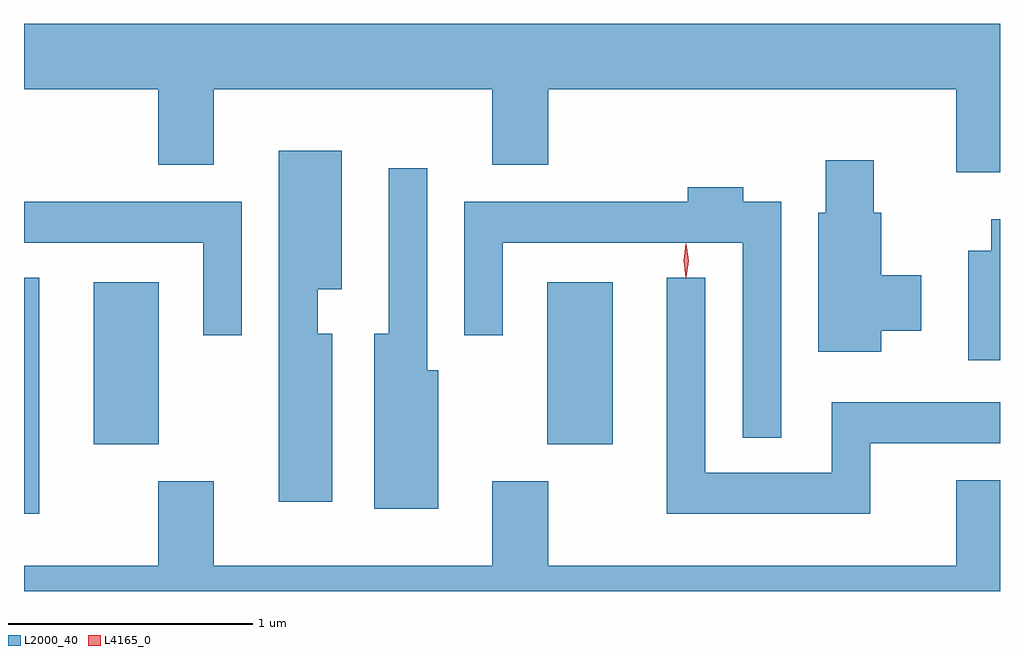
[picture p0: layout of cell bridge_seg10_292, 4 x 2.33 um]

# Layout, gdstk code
import gdstk
lib = gdstk.Library(unit=1e-6, precision=1e-09)
def R(c, l, rs):  # rectangles x0, y0, x1, y1
    for r in rs: c.add(gdstk.rectangle(r[:2], r[2:], *l))
def P(c, l, *ps):  # polygons
    for p in ps: c.add(gdstk.Polygon(p, *l))
L2000_40 = (2000, 40)
L4165_0 = (4165, 0)

bridge_seg10_292 = lib.new_cell('bridge_seg10_292')
R(bridge_seg10_292, L2000_40, [(1399.711,2167.676,1399.774,2168.643), (1399.996,2167.961,1400.264,2168.624), (1401.856,2167.961,1402.124,2168.624)])
P(bridge_seg10_292, L2000_40, [(1403.711,2169.684),(1399.711,2169.684),(1399.711,2169.416),(1400.261,2169.416),(1400.261,2169.106),(1400.489,2169.106),(1400.489,2169.416),(1401.631,2169.416),(1401.631,2169.106),(1401.859,2169.106),(1401.859,2169.416),(1403.531,2169.416),(1403.531,2169.076),(1403.711,2169.076)],
  [(1400.974,2168.414),(1400.914,2168.414),(1400.914,2168.596),(1401.014,2168.596),(1401.014,2169.164),(1400.756,2169.164),(1400.756,2167.726),(1400.974,2167.726)],
  [(1403.224,2168.426),(1403.389,2168.426),(1403.389,2168.654),(1403.224,2168.654),(1403.224,2168.909),(1403.194,2168.909),(1403.194,2169.124),(1402.996,2169.124),(1402.996,2168.909),(1402.966,2168.909),(1402.966,2168.341),(1403.224,2168.341)],
  [(1401.409,2168.264),(1401.364,2168.264),(1401.364,2169.093),(1401.206,2169.093),(1401.206,2168.414),(1401.146,2168.414),(1401.146,2167.696),(1401.409,2167.696)],
  [(1402.814,2168.954),(1402.659,2168.954),(1402.659,2169.014),(1402.431,2169.014),(1402.431,2168.954),(1401.516,2168.954),(1401.516,2168.408),(1401.674,2168.408),(1401.674,2168.786),(1402.656,2168.786),(1402.656,2167.988),(1402.814,2167.988)],
  [(1400.604,2168.954),(1399.711,2168.954),(1399.711,2168.786),(1400.446,2168.786),(1400.446,2168.408),(1400.604,2168.408)],
  [(1403.711,2168.884),(1403.676,2168.884),(1403.676,2168.754),(1403.581,2168.754),(1403.581,2168.306),(1403.711,2168.306)],
  [(1403.179,2167.966),(1403.711,2167.966),(1403.711,2168.134),(1403.021,2168.134),(1403.021,2167.844),(1402.504,2167.844),(1402.504,2168.643),(1402.346,2168.643),(1402.346,2167.676),(1403.179,2167.676)],
  [(1403.711,2167.814),(1403.531,2167.814),(1403.531,2167.464),(1401.859,2167.464),(1401.859,2167.809),(1401.631,2167.809),(1401.631,2167.464),(1400.489,2167.464),(1400.489,2167.809),(1400.261,2167.809),(1400.261,2167.464),(1399.711,2167.464),(1399.711,2167.359),(1403.711,2167.359)])
P(bridge_seg10_292, L4165_0, [(1402.424,2168.644),(1402.415,2168.713),(1402.424,2168.782),(1402.425,2168.783),(1402.425,2168.782),(1402.435,2168.713),(1402.425,2168.644),(1402.425,2168.644)],
  [(1402.424,2168.647),(1402.423,2168.648),(1402.414,2168.714),(1402.423,2168.78),(1402.424,2168.78),(1402.424,2168.78),(1402.434,2168.714),(1402.424,2168.648)])

lib.write_gds('bridge_seg10_292.gds')
